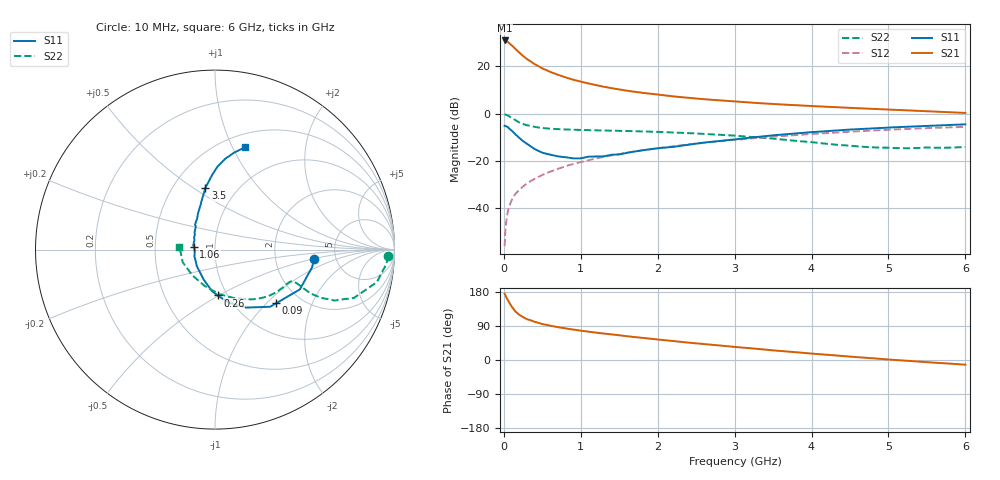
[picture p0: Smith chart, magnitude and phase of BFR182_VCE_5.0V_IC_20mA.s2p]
! Infineon Technologies  Discrete & RF Semiconductors
! BFR182
! VCE =  5.0 V,  IC =  20 mA
! Common Emitter S-Parameters:  Nov 2015
# GHz  S  MA  R  50
!  f  S11  S21  S12  S22
! GHz  MAG  ANG  MAG  ANG  MAG  ANG  MAG  ANG
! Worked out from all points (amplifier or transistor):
!   210 points, 10 MHz to 6 GHz, reference 50 ohm
!   highest |S21| = 30.9 dB at 10 MHz (marker M1)
!   |S21| within 3 dB of that: start of sweep to 132.1 MHz
!   unconditionally stable (mu >= 1): 586 MHz to 2.57 GHz
!   at 185 MHz: K = 0.69, MSG = 29.5 dB, |S12| = -32.7 dB
!   at 1.52 GHz: K = 1.04, MAG = 12.2 dB, |S12| = -16.9 dB
!   at 6 GHz: K = 0.90, MSG = 2.9 dB, |S12| = -5.6 dB
!   S11 on the Smith chart (normalised r, x): 10 MHz: 3.40, -0.50; 90 MHz: 1.52, -1.14; 260 MHz: 0.90, -0.49; 1.06 GHz: 0.79, +0.03; 3.5 GHz: 0.71, +0.56; 6 GHz: 0.64, +1.12
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0.01  0.5532 -5.3  34.94 174.9  0.0016 88.6  0.9663 -2.1
0.02  0.5503 -10.1  34.29 170.5  0.0033 82.2  0.9586 -4.7
0.05  0.5225 -25.1  32.75 158.2  0.0084 76.2  0.9198 -11.4
0.09  0.4533 -41.3  28.74 144.9  0.0134 74.5  0.8381 -17.5
0.1  0.4427 -46.0  28.02 141.0  0.0147 74.3  0.8194 -19.2
0.15  0.3665 -61.8  23.14 127.9  0.0204 71.0  0.7228 -23.1
0.2  0.3089 -74.4  19.4 119.2  0.0244 70.9  0.6517 -24.4
0.26  0.2562 -86.5  15.95 111.7  0.0299 71.0  0.595 -24.6
0.3  0.2321 -94.1  14.16 107.7  0.0336 71.9  0.568 -24.3
0.4  0.1793 -110.4  11.07 100.8  0.042 72.4  0.524 -23.3
0.5  0.1502 -124.9  9.002 94.8  0.0508 73.4  0.497 -22.5
0.7  0.1259 -148.1  6.614 86.7  0.0682 73.6  0.4705 -22.3
0.9  0.1139 -171.6  5.196 80.1  0.0864 72.6  0.4572 -22.9
1.02  0.1157 176.0  4.638 76.9  0.0969 72.2  0.4513 -23.8
1.06  0.1194 172.2  4.48 75.9  0.1006 72.1  0.4497 -24.1
1.4  0.1357 149.3  3.44 67.5  0.1312 69.9  0.4376 -27.7
2.02  0.1876 124.7  2.488 53.7  0.1883 64.7  0.4114 -36.1
3.1  0.2972 103.5  1.755 32.9  0.2886 53.7  0.3329 -56.2
3.5  0.3489 98.8  1.595 25.4  0.3263 49.5  0.2972 -66.7
4.1  0.4172 92.1  1.42 15.4  0.3802 42.3  0.2399 -87.7
5.1  0.5173 82.6  1.204 -0.0  0.4648 30.0  0.1879 -136.4
6  0.5938 73.6  1.034 -12.4  0.5247 17.8  0.1983 176.3
